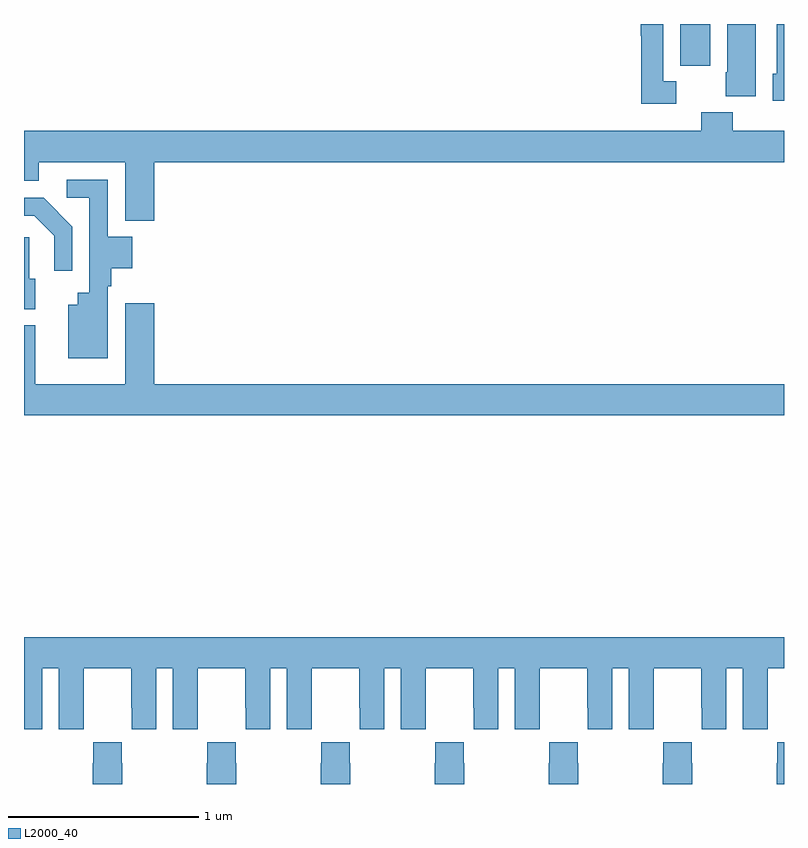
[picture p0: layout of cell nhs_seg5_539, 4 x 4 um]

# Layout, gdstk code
import gdstk
lib = gdstk.Library(unit=1e-6, precision=1e-09)
def R(c, l, rs):  # rectangles x0, y0, x1, y1
    for r in rs: c.add(gdstk.rectangle(r[:2], r[2:], *l))
def P(c, l, *ps):  # polygons
    for p in ps: c.add(gdstk.Polygon(p, *l))
L2000_40 = (2000, 40)

nhs_seg5_539 = lib.new_cell('nhs_seg5_539')
R(nhs_seg5_539, L2000_40, [(148.454,878.58,148.612,878.799)])
P(nhs_seg5_539, L2000_40, [(148.432,878.499),(148.365,878.499),(148.365,878.799),(148.245,878.799),(148.245,878.736),(148.249,878.736),(148.249,878.379),(148.432,878.379)],
  [(148.852,878.799),(148.7,878.799),(148.7,878.544),(148.694,878.544),(148.694,878.42),(148.852,878.42)],
  [(149,878.799),(148.962,878.799),(148.962,878.538),(148.94,878.538),(148.94,878.394),(149,878.394)],
  [(145.685,878.072),(149,878.072),(149,878.236),(148.73,878.236),(148.73,878.335),(148.565,878.335),(148.565,878.236),(145,878.236),(145,877.973),(145.078,877.973),(145.078,878.072),(145.532,878.072),(145.532,877.763),(145.685,877.763)],
  [(145.441,877.418),(145.46,877.418),(145.46,877.514),(145.57,877.514),(145.57,877.678),(145.44,877.678),(145.44,877.98),(145.224,877.98),(145.224,877.884),(145.344,877.884),(145.344,877.384),(145.283,877.384),(145.283,877.321),(145.232,877.321),(145.232,877.04),(145.441,877.04)],
  [(145.254,877.732),(145.178,877.808),(145.179,877.809),(145.104,877.884),(145,877.884),(145,877.79),(145.054,877.79),(145.16,877.685),(145.16,877.5),(145.254,877.5)],
  [(145.06,877.459),(145.027,877.459),(145.027,877.677),(145,877.677),(145,877.298),(145.06,877.298)],
  [(149,876.904),(145.685,876.904),(145.685,877.33),(145.532,877.33),(145.532,876.904),(145.06,876.904),(145.06,877.213),(145,877.213),(145,876.74),(149,876.74)],
  [(145.096,875.408),(145.184,875.408),(145.184,875.088),(145.314,875.088),(145.314,875.2),(145.315,875.2),(145.315,875.408),(145.565,875.408),(145.565,875.2),(145.566,875.2),(145.566,875.088),(145.696,875.088),(145.696,875.408),(145.784,875.408),(145.784,875.088),(145.914,875.088),(145.914,875.2),(145.915,875.2),(145.915,875.408),(146.165,875.408),(146.165,875.2),(146.166,875.2),(146.166,875.088),(146.296,875.088),(146.296,875.408),(146.384,875.408),(146.384,875.088),(146.514,875.088),(146.514,875.2),(146.515,875.2),(146.515,875.408),(146.765,875.408),(146.765,875.2),(146.766,875.2),(146.766,875.088),(146.896,875.088),(146.896,875.408),(146.984,875.408),(146.984,875.088),(147.114,875.088),(147.114,875.2),(147.115,875.2),(147.115,875.408),(147.365,875.408),(147.365,875.2),(147.366,875.2),(147.366,875.088),(147.496,875.088),(147.496,875.408),(147.584,875.408),(147.584,875.088),(147.714,875.088),(147.714,875.2),(147.715,875.2),(147.715,875.408),(147.965,875.408),(147.965,875.2),(147.966,875.2),(147.966,875.088),(148.096,875.088),(148.096,875.408),(148.184,875.408),(148.184,875.088),(148.314,875.088),(148.314,875.2),(148.315,875.2),(148.315,875.408),(148.565,875.408),(148.565,875.2),(148.566,875.2),(148.566,875.088),(148.696,875.088),(148.696,875.408),(148.784,875.408),(148.784,875.088),(148.914,875.088),(148.914,875.2),(148.915,875.2),(148.915,875.408),(149,875.408),(149,875.572),(145,875.572),(145,875.088),(145.096,875.088)],
  [(147.918,874.907),(147.915,874.907),(147.915,875.02),(147.765,875.02),(147.765,874.907),(147.763,874.907),(147.763,874.799),(147.918,874.799)],
  [(148.518,874.907),(148.515,874.907),(148.515,875.02),(148.365,875.02),(148.365,874.907),(148.363,874.907),(148.363,874.799),(148.518,874.799)],
  [(149,875.02),(148.965,875.02),(148.965,874.907),(148.963,874.907),(148.963,874.799),(149,874.799)],
  [(145.518,874.907),(145.515,874.907),(145.515,875.02),(145.365,875.02),(145.365,874.907),(145.363,874.907),(145.363,874.799),(145.518,874.799)],
  [(146.118,874.907),(146.115,874.907),(146.115,875.02),(145.965,875.02),(145.965,874.907),(145.963,874.907),(145.963,874.799),(146.118,874.799)],
  [(146.718,874.907),(146.715,874.907),(146.715,875.02),(146.565,875.02),(146.565,874.907),(146.563,874.907),(146.563,874.799),(146.718,874.799)],
  [(147.318,874.907),(147.315,874.907),(147.315,875.02),(147.165,875.02),(147.165,874.907),(147.163,874.907),(147.163,874.799),(147.318,874.799)])

lib.write_gds('nhs_seg5_539.gds')
